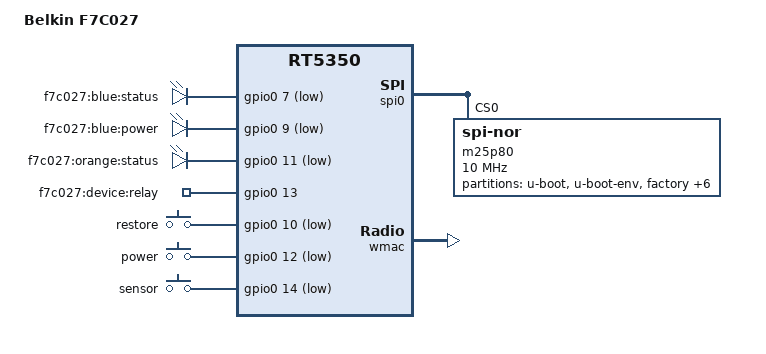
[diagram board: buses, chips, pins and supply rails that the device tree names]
/dts-v1/;

#include "rt5350.dtsi"

#include <dt-bindings/gpio/gpio.h>
#include <dt-bindings/input/input.h>

/ {
	compatible = "belkin,f7c027", "ralink,rt5350-soc";
	model = "Belkin F7C027";

	aliases {
		led-status = &led_status_orange;
	};

	gpio-leds {
		compatible = "gpio-leds";

		status {
			label = "f7c027:blue:status";
			gpios = <&gpio0 7 GPIO_ACTIVE_LOW>;
		};

		power {
			label = "f7c027:blue:power";
			gpios = <&gpio0 9 GPIO_ACTIVE_LOW>;
		};

		led_status_orange: orange {
			label = "f7c027:orange:status";
			gpios = <&gpio0 11 GPIO_ACTIVE_LOW>;
		};

		relay {
			label = "f7c027:device:relay";
			gpios = <&gpio0 13 GPIO_ACTIVE_HIGH>;
		};
	};

	gpio-keys-polled {
		compatible = "gpio-keys-polled";
		poll-interval = <20>;

		top {
			label = "restore";
			gpios = <&gpio0 10 GPIO_ACTIVE_LOW>;
			linux,code = <KEY_RESTART>;
		};

		power {
			label = "power";
			gpios = <&gpio0 12 GPIO_ACTIVE_LOW>;
			linux,code = <KEY_RFKILL>;
		};

		sensor {
			label = "sensor";
			gpios = <&gpio0 14 GPIO_ACTIVE_LOW>;
			linux,code = <BTN_0>;
		};
	};
};

&spi0 {
	status = "okay";

	m25p80@0 {
		compatible = "jedec,spi-nor";
		reg = <0>;
		spi-max-frequency = <10000000>;

		partitions {
			compatible = "fixed-partitions";
			#address-cells = <1>;
			#size-cells = <1>;

			partition@0 {
				label = "u-boot";
				reg = <0x0 0x30000>;
				read-only;
			};

			partition@30000 {
				label = "u-boot-env";
				reg = <0x30000 0x10000>;
				read-only;
			};

			factory: partition@40000 {
				label = "factory";
				reg = <0x40000 0x10000>;
				read-only;
			};

			partition@50000 {
				label = "firmware";
				reg = <0x50000 0x770000>;
			};

			partition@7c0000 {
				label = "firmware2";
				reg = <0x7c0000 0x770000>;
			};

			partition@f30000 {
				label = "belkin_settings";
				reg = <0xf30000 0xa0000>;
			};

			partition@fd0000 {
				label = "unknown";
				reg = <0xfd0000 0x10000>;
			};

			partition@fe0000 {
				label = "nvram";
				reg = <0xfe0000 0x10000>;
			};

			partition@ff0000 {
				label = "user_factory";
				reg = <0xff0000 0x10000>;
			};
		};
	};
};

&wmac {
	ralink,mtd-eeprom = <&factory 0>;
};

&pinctrl {
	state_default: pinctrl0 {
		gpio {
			ralink,group = "i2c", "jtag", "uartf";
			ralink,function = "gpio";
		};
	};
};
